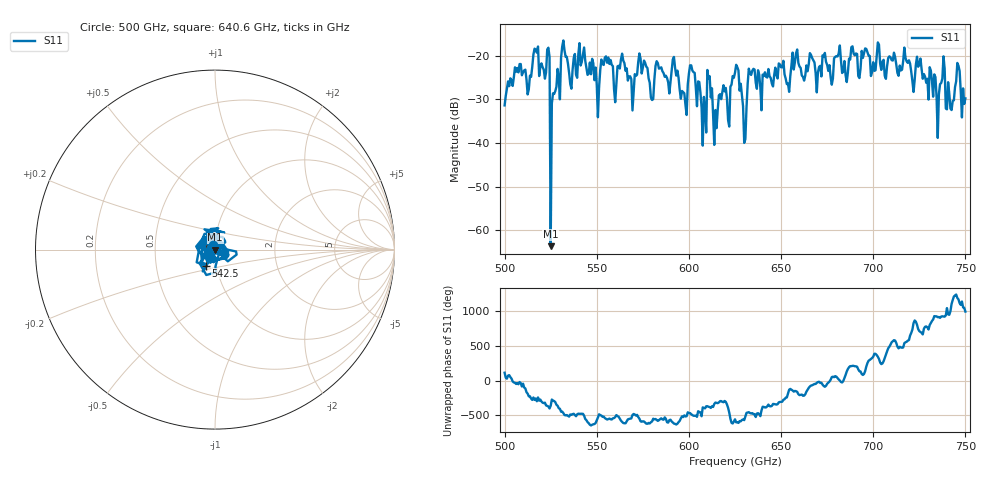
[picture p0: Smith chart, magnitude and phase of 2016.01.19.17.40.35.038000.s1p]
!Created with skrf (http://scikit-rf.org).
# GHz S RI R 50.0
!freq ReS11 ImS11
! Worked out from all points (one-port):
!   401 points, 500 GHz to 750 GHz, reference 50 ohm
!   lowest |S11| = -63.7 dB at 525 GHz (marker M1), VSWR 1.00, Z = 50.1 - j0.00411 ohm
!   |S11| at or under -10 dB: start of sweep to end of sweep
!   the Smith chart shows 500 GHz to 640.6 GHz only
!   S11 on the Smith chart (normalised r, x): 500 GHz: 0.98, +0.05; 542.5 GHz: 0.89, -0.16; 640.6 GHz: 1.12, -0.04
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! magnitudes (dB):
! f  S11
! 500 GHz  -31.4
! 506.9 GHz  -22.8
! 513.1 GHz  -27.7
! 516.9 GHz  -18.6
! 523.1 GHz  -18.6
! 525 GHz  -63.7
! 526.2 GHz  -28.6
! 526.9 GHz  -28.8
! 531.2 GHz  -17.9
! 542.5 GHz  -19.8
! 550 GHz  -26.7
! 562.5 GHz  -22.9
! 579.4 GHz  -29.6
! 583.1 GHz  -21.7
! 593.8 GHz  -23.4
! 597.5 GHz  -28.6
! 601.9 GHz  -23.4
! 608.1 GHz  -29.4
! 611.2 GHz  -24.7
! 614.4 GHz  -32.5
! 625 GHz  -23.9
! 630 GHz  -40.0
! 633.8 GHz  -24.4
! 640.6 GHz  -24.7
! 656.2 GHz  -19.3
! 687.5 GHz  -20.9
! 718.8 GHz  -21.6
! 750 GHz  -29.8
